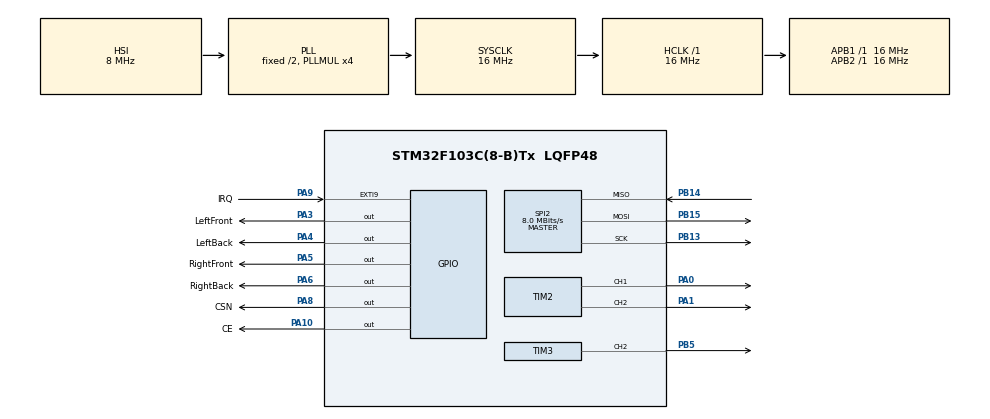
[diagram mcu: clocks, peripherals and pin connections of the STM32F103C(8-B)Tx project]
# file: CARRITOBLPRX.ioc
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Mcu.Family=STM32F1
Mcu.Name=STM32F103C(8-B)Tx
Mcu.Package=LQFP48
NVIC.PriorityGroup=NVIC_PRIORITYGROUP_4
NVIC.SPI2_IRQn=true\:0\:0\:false\:false\:true\:true\:true\:true
PA0-WKUP.Signal=S_TIM2_CH1_ETR
PA1.Signal=S_TIM2_CH2
PA10.GPIO_Label=CE
PA10.GPIO_Speed=GPIO_SPEED_FREQ_HIGH
PA10.Signal=GPIO_Output
PA3.GPIO_Label=LeftFront
PA3.GPIO_Speed=GPIO_SPEED_FREQ_HIGH
PA3.Signal=GPIO_Output
PA4.GPIO_Label=LeftBack
PA4.GPIO_Speed=GPIO_SPEED_FREQ_HIGH
PA4.Signal=GPIO_Output
PA5.GPIO_Label=RightFront
PA5.GPIO_Speed=GPIO_SPEED_FREQ_HIGH
PA5.Signal=GPIO_Output
PA6.GPIO_Label=RightBack
PA6.GPIO_Speed=GPIO_SPEED_FREQ_HIGH
PA6.Signal=GPIO_Output
PA8.GPIO_Label=CSN
PA8.GPIO_Speed=GPIO_SPEED_FREQ_HIGH
PA8.Signal=GPIO_Output
PA9.GPIO_Label=IRQ
PA9.GPIO_ModeDefaultEXTI=GPIO_MODE_IT_FALLING
PA9.Signal=GPXTI9
PB13.Mode=Full_Duplex_Master
PB13.Signal=SPI2_SCK
PB14.Mode=Full_Duplex_Master
PB14.Signal=SPI2_MISO
PB15.Mode=Full_Duplex_Master
PB15.Signal=SPI2_MOSI
PB5.Signal=S_TIM3_CH2
ProjectManager.HeapSize=0x200
ProjectManager.StackSize=0x400
ProjectManager.TargetToolchain=STM32CubeIDE
RCC.AHBFreq_Value=16000000
RCC.APB1Freq_Value=16000000
RCC.APB1TimFreq_Value=16000000
RCC.APB2Freq_Value=16000000
RCC.APB2TimFreq_Value=16000000
RCC.HCLKFreq_Value=16000000
RCC.PLLMUL=RCC_PLL_MUL4
RCC.SYSCLKFreq_VALUE=16000000
RCC.SYSCLKSource=RCC_SYSCLKSOURCE_PLLCLK
RCC.USBFreq_Value=16000000
SH.S_TIM2_CH1_ETR.0=TIM2_CH1,PWM Generation1 CH1
SH.S_TIM2_CH2.0=TIM2_CH2,PWM Generation2 CH2
SH.S_TIM3_CH2.0=TIM3_CH2,PWM Generation2 CH2
SPI2.CalculateBaudRate=8.0 MBits/s
SPI2.Direction=SPI_DIRECTION_2LINES
SPI2.Mode=SPI_MODE_MASTER
SPI2.VirtualType=VM_MASTER
TIM2.Channel-PWM\ Generation1\ CH1=TIM_CHANNEL_1
TIM2.Channel-PWM\ Generation2\ CH2=TIM_CHANNEL_2
TIM2.OCMode_PWM-PWM\ Generation1\ CH1=TIM_OCMODE_PWM1
TIM3.Channel-PWM\ Generation2\ CH2=TIM_CHANNEL_2
TIM3.Period=3199
TIM3.Prescaler=99
VP_SYS_VS_ND.Mode=No_Debug
board=custom

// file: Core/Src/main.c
/* USER CODE BEGIN Header */
/*
------- Kevin Lara  -------
--------- Auf Das --------
-------- Roberto --------
----------- Car  -----------
-------- 27/12/2025 --------
*/
/*
B13  SPI2_SCK
B14  SPI2_MISO
B15  SPI2_MOSI
A8  CSN
A9  CE
A10 IRQ

B7  SW Back
B6  SW Fw
*/
// ------- Main Library -------
/* USER CODE END Header */
#include "main.h"

/* USER CODE BEGIN Includes */
#include "NRF24.h"
#include "NRF24_reg_addresses.h"
#include "conf.h"
/* USER CODE END Includes */

/* USER CODE BEGIN PD */
typedef struct {
  uint8_t cmd;
  uint8_t speed;

  float angle;
} RF_Data;

#define PLD_SIZE sizeof(RF_Data)
/* USER CODE END PD */

SPI_HandleTypeDef hspi2;

TIM_HandleTypeDef htim2;
TIM_HandleTypeDef htim3;

/* USER CODE BEGIN PV */

RF_Data rxData;
float dataRx[sizeof(RF_Data)];
uint8_t addrRx[4]="juan";
/* USER CODE END PV */

void SystemClock_Config(void);
static void MX_GPIO_Init(void);
static void MX_SPI2_Init(void);
static void MX_TIM2_Init(void);
static void MX_TIM3_Init(void);

int main(void)
{

  /* MCU Configuration--------------------------------------------------------*/

  /* Reset of all peripherals, Initializes the Flash interface and the Systick. */
  HAL_Init();

  /* Configure the system clock */
  SystemClock_Config();

  /* Initialize all configured peripherals */
  MX_GPIO_Init();
  MX_SPI2_Init();
  MX_TIM2_Init();
  MX_TIM3_Init();
  /* USER CODE BEGIN 2 */
  HAL_TIM_PWM_Start(&htim2, TIM_CHANNEL_1); // Start PWM for motor channel 1
  HAL_TIM_PWM_Start(&htim2, TIM_CHANNEL_2); // Start PWM for motor channel 2
  HAL_TIM_PWM_Start(&htim3, TIM_CHANNEL_2); // Start PWM for servo
  csn_high();
  nrf24_init();
  nrf24_tx_pwr(_0dbm );
  nrf24_data_rate(_1mbps);
  nrf24_set_crc(en_crc,_1byte);
  nrf24_set_channel(100);
  nrf24_pipe_pld_size(0,PLD_SIZE);
  nrf24_open_tx_pipe(addrRx);
  nrf24_open_rx_pipe(0,addrRx);
  nrf24_listen();

  /* USER CODE END 2 */

  /* Infinite loop */
  while (1)
  {

    /* USER CODE BEGIN 3 */
 //   nrf24_listen();
    if(nrf24_data_available()){
        nrf24_receive(dataRx, sizeof(dataRx));
        // Copy received bytes into struct
        memcpy(&rxData, dataRx, sizeof(RF_Data));
    } else {
        rxData.cmd = 0x27; // No command received
        rxData.angle = 0.0f;
        rxData.speed = 0;
    }

    switch (rxData.cmd)
    {
    case 1: CAR_Front(); break;
    case 2: CAR_Back(); break;
    case 3:
    /*
    160 - 400
    0     180

    for 45 deg = 220
    for 135 deg = 340
    */
    	//__HAL_TIM_SET_COMPARE(&htim3,TIM_CHANNEL_2, (uint16_t)rxData.angle);
        TIM3->CCR2=(uint16_t)rxData.angle;
    	HAL_Delay(10);
          break;
    case 4: CAR_Speed(rxData.speed); break;
    case 0x27: // neutral CAR_Speed(0); break;
    default: break;
    }
  }
  /* USER CODE END 3 */
}

void SystemClock_Config(void)
{
  RCC_OscInitTypeDef RCC_OscInitStruct = {0};
  RCC_ClkInitTypeDef RCC_ClkInitStruct = {0};

  /** Initializes the RCC Oscillators according to the specified parameters
  * in the RCC_OscInitTypeDef structure.
  */
  RCC_OscInitStruct.OscillatorType = RCC_OSCILLATORTYPE_HSI;
  RCC_OscInitStruct.HSIState = RCC_HSI_ON;
  RCC_OscInitStruct.HSICalibrationValue = RCC_HSICALIBRATION_DEFAULT;
  RCC_OscInitStruct.PLL.PLLState = RCC_PLL_ON;
  RCC_OscInitStruct.PLL.PLLSource = RCC_PLLSOURCE_HSI_DIV2;
  RCC_OscInitStruct.PLL.PLLMUL = RCC_PLL_MUL4;
  if (HAL_RCC_OscConfig(&RCC_OscInitStruct) != HAL_OK)
  {
    Error_Handler();
  }

  /** Initializes the CPU, AHB and APB buses clocks
  */
  RCC_ClkInitStruct.ClockType = RCC_CLOCKTYPE_HCLK|RCC_CLOCKTYPE_SYSCLK
                              |RCC_CLOCKTYPE_PCLK1|RCC_CLOCKTYPE_PCLK2;
  RCC_ClkInitStruct.SYSCLKSource = RCC_SYSCLKSOURCE_PLLCLK;
  RCC_ClkInitStruct.AHBCLKDivider = RCC_SYSCLK_DIV1;
  RCC_ClkInitStruct.APB1CLKDivider = RCC_HCLK_DIV1;
  RCC_ClkInitStruct.APB2CLKDivider = RCC_HCLK_DIV1;

  if (HAL_RCC_ClockConfig(&RCC_ClkInitStruct, FLASH_LATENCY_0) != HAL_OK)
  {
    Error_Handler();
  }
}

static void MX_SPI2_Init(void)
{

  /* SPI2 parameter configuration*/
  hspi2.Instance = SPI2;
  hspi2.Init.Mode = SPI_MODE_MASTER;
  hspi2.Init.Direction = SPI_DIRECTION_2LINES;
  hspi2.Init.DataSize = SPI_DATASIZE_8BIT;
  hspi2.Init.CLKPolarity = SPI_POLARITY_LOW;
  hspi2.Init.CLKPhase = SPI_PHASE_1EDGE;
  hspi2.Init.NSS = SPI_NSS_SOFT;
  hspi2.Init.BaudRatePrescaler = SPI_BAUDRATEPRESCALER_2;
  hspi2.Init.FirstBit = SPI_FIRSTBIT_MSB;
  hspi2.Init.TIMode = SPI_TIMODE_DISABLE;
  hspi2.Init.CRCCalculation = SPI_CRCCALCULATION_DISABLE;
  hspi2.Init.CRCPolynomial = 10;
  if (HAL_SPI_Init(&hspi2) != HAL_OK)
  {
    Error_Handler();
  }

}

static void MX_TIM2_Init(void)
{

  TIM_MasterConfigTypeDef sMasterConfig = {0};
  TIM_OC_InitTypeDef sConfigOC = {0};

  htim2.Instance = TIM2;
  htim2.Init.Prescaler = 0;
  htim2.Init.CounterMode = TIM_COUNTERMODE_UP;
  htim2.Init.Period = 65535;
  htim2.Init.ClockDivision = TIM_CLOCKDIVISION_DIV1;
  htim2.Init.AutoReloadPreload = TIM_AUTORELOAD_PRELOAD_DISABLE;
  if (HAL_TIM_PWM_Init(&htim2) != HAL_OK)
  {
    Error_Handler();
  }
  sMasterConfig.MasterOutputTrigger = TIM_TRGO_RESET;
  sMasterConfig.MasterSlaveMode = TIM_MASTERSLAVEMODE_DISABLE;
  if (HAL_TIMEx_MasterConfigSynchronization(&htim2, &sMasterConfig) != HAL_OK)
  {
    Error_Handler();
  }
  sConfigOC.OCMode = TIM_OCMODE_PWM1;
  sConfigOC.Pulse = 0;
  sConfigOC.OCPolarity = TIM_OCPOLARITY_HIGH;
  sConfigOC.OCFastMode = TIM_OCFAST_DISABLE;
  if (HAL_TIM_PWM_ConfigChannel(&htim2, &sConfigOC, TIM_CHANNEL_1) != HAL_OK)
  {
    Error_Handler();
  }
  if (HAL_TIM_PWM_ConfigChannel(&htim2, &sConfigOC, TIM_CHANNEL_2) != HAL_OK)
  {
    Error_Handler();
  }
  HAL_TIM_MspPostInit(&htim2);

}

static void MX_TIM3_Init(void)
{

  TIM_MasterConfigTypeDef sMasterConfig = {0};
  TIM_OC_InitTypeDef sConfigOC = {0};

  htim3.Instance = TIM3;
  htim3.Init.Prescaler = 99;
  htim3.Init.CounterMode = TIM_COUNTERMODE_UP;
  htim3.Init.Period = 3199;
  htim3.Init.ClockDivision = TIM_CLOCKDIVISION_DIV1;
  htim3.Init.AutoReloadPreload = TIM_AUTORELOAD_PRELOAD_ENABLE;
  if (HAL_TIM_PWM_Init(&htim3) != HAL_OK)
  {
    Error_Handler();
  }
  sMasterConfig.MasterOutputTrigger = TIM_TRGO_RESET;
  sMasterConfig.MasterSlaveMode = TIM_MASTERSLAVEMODE_DISABLE;
  if (HAL_TIMEx_MasterConfigSynchronization(&htim3, &sMasterConfig) != HAL_OK)
  {
    Error_Handler();
  }
  sConfigOC.OCMode = TIM_OCMODE_PWM1;
  sConfigOC.Pulse = 0;
  sConfigOC.OCPolarity = TIM_OCPOLARITY_HIGH;
  sConfigOC.OCFastMode = TIM_OCFAST_DISABLE;
  if (HAL_TIM_PWM_ConfigChannel(&htim3, &sConfigOC, TIM_CHANNEL_2) != HAL_OK)
  {
    Error_Handler();
  }
  HAL_TIM_MspPostInit(&htim3);

}

static void MX_GPIO_Init(void)
{
  GPIO_InitTypeDef GPIO_InitStruct = {0};

  /* GPIO Ports Clock Enable */
  __HAL_RCC_GPIOA_CLK_ENABLE();
  __HAL_RCC_GPIOB_CLK_ENABLE();

  /*Configure GPIO pin Output Level */
  HAL_GPIO_WritePin(GPIOA, LeftFront_Pin|LeftBack_Pin|RightFront_Pin|RightBack_Pin
                          |CSN_Pin|CE_Pin, GPIO_PIN_RESET);

  /*Configure GPIO pins : LeftFront_Pin LeftBack_Pin RightFront_Pin RightBack_Pin
                           CSN_Pin CE_Pin */
  GPIO_InitStruct.Pin = LeftFront_Pin|LeftBack_Pin|RightFront_Pin|RightBack_Pin
                          |CSN_Pin|CE_Pin;
  GPIO_InitStruct.Mode = GPIO_MODE_OUTPUT_PP;
  GPIO_InitStruct.Pull = GPIO_NOPULL;
  GPIO_InitStruct.Speed = GPIO_SPEED_FREQ_HIGH;
  HAL_GPIO_Init(GPIOA, &GPIO_InitStruct);

  /*Configure GPIO pin : IRQ_Pin */
  GPIO_InitStruct.Pin = IRQ_Pin;
  GPIO_InitStruct.Mode = GPIO_MODE_IT_FALLING;
  GPIO_InitStruct.Pull = GPIO_NOPULL;
  HAL_GPIO_Init(IRQ_GPIO_Port, &GPIO_InitStruct);

}

void Error_Handler(void)
{
  __disable_irq();
  while (1)
  {
  }
}
